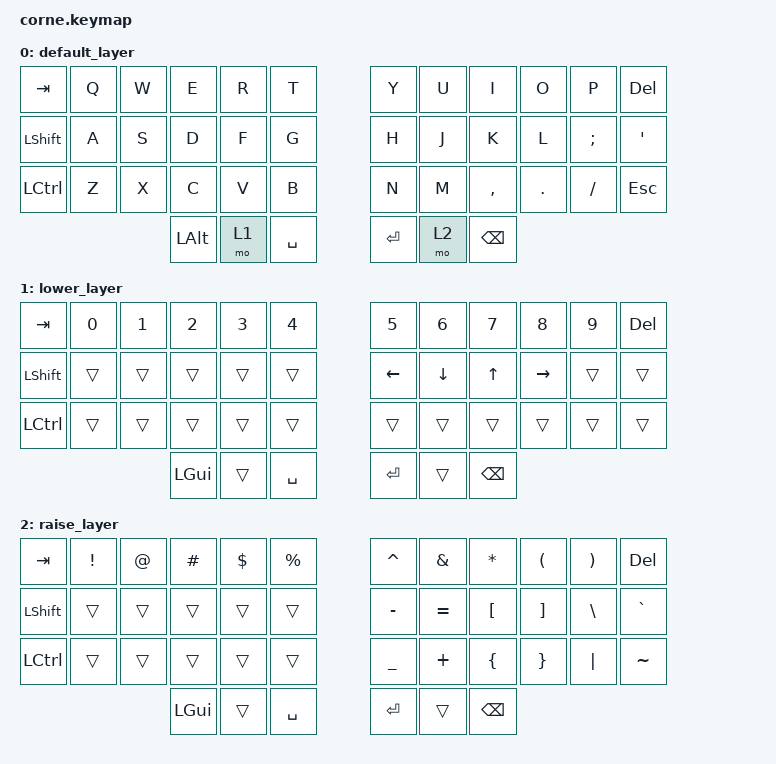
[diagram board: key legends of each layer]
/*
 * Copyright (c) 2020 The ZMK Contributors
 *
 * SPDX-License-Identifier: MIT
 */

#include <behaviors.dtsi>
#include <dt-bindings/zmk/keys.h>
#include <dt-bindings/zmk/bt.h>

/ {
        keymap {
                compatible = "zmk,keymap";

                default_layer {
// -----------------------------------------------------------------------------------------
// |  TAB |  Q  |  W  |  E  |  R  |  T  |   |  Y  |  U   |  I  |  O  |  P  | DEL  |
// | SHFT |  A  |  S  |  D  |  F  |  G  |   |  H  |  J   |  K  |  L  |  ;  |  '   |
// | CTRL |  Z  |  X  |  C  |  V  |  B  |   |  N  |  M   |  ,  |  .  |  /  | ESC  |
//                    | ALT | LWR | SPC |   | ENT | RSE  | BSPC |
                        bindings = <
   &kp TAB   &kp Q &kp W &kp E &kp R &kp T   &kp Y &kp U  &kp I     &kp O   &kp P    &kp DEL
   &kp LSHFT &kp A &kp S &kp D &kp F &kp G   &kp H &kp J  &kp K     &kp L   &kp SEMI &kp SQT
   &kp LCTRL &kp Z &kp X &kp C &kp V &kp B   &kp N &kp M  &kp COMMA &kp DOT &kp FSLH &kp ESC
                  &kp LALT &mo 1 &kp SPACE   &kp RET &mo 2 &kp BSPC
                        >;
                };
                lower_layer {
// -----------------------------------------------------------------------------------------
// |  TAB |  0  |  1  |  2  |  3  |  4  |   |  5  |  6  |  7  |  8  |  9  | BKSP |
// |      | BT1 | BT2 | BT3 | BT4 | BT5 |   | LFT | DWN |  UP | RGT |     |      |
// | SHFT |     |     |     |     |     |   |     |     |     |     |     |      |
//                    | GUI |     | SPC |   | ENT |     | BSPC |
                        bindings = <
   &kp TAB    &kp N0       &kp N1       &kp N2       &kp N3       &kp N4         &kp N5   &kp N6   &kp N7 &kp N8    &kp N9 &kp DEL
   &kp LSHFT &trans &trans &trans &trans &trans      &kp LEFT &kp DOWN &kp UP &kp RIGHT &trans &trans
   &kp LCTRL  &trans       &trans       &trans       &trans       &trans         &trans   &trans   &trans &trans    &trans &trans
                          	        &kp LGUI     &trans       &kp SPACE      &kp RET  &trans   &kp BSPC
                        >;
                };

                raise_layer {
// -----------------------------------------------------------------------------------------
// |  TAB |  !  |  @  |  #  |  $  |  %  |   |  ^  |  &  |  *  |  (  |  )  | BKSP |
// | SHFT |     |     |     |     |     |   |  -  |  =  |  [  |  ]  |  \  |  `   |
// | CTRL |     |     |     |     |     |   |  _  |  +  |  {  |  }  | "|" |  ~   |
//                    | GUI |     | SPC |   | ENT |     | BSPC |
                        bindings = <
   &kp  TAB  &kp EXCL &kp AT &kp HASH &kp DLLR &kp PRCNT   &kp CARET &kp AMPS  &kp STAR &kp LPAR &kp RPAR &kp DEL
   &kp LSHFT &trans   &trans &trans   &trans   &trans      &kp MINUS &kp EQUAL &kp LBKT        &kp RBKT &kp BSLH &kp GRAVE
   &kp LCTRL &trans   &trans &trans   &trans   &trans      &kp UNDER &kp PLUS  &kp LBRC        &kp RBRC &kp PIPE &kp TILDE
                    	     &kp LGUI &trans   &kp SPACE   &kp RET   &trans    &kp BSPC
                        >;
                };
        };
};
